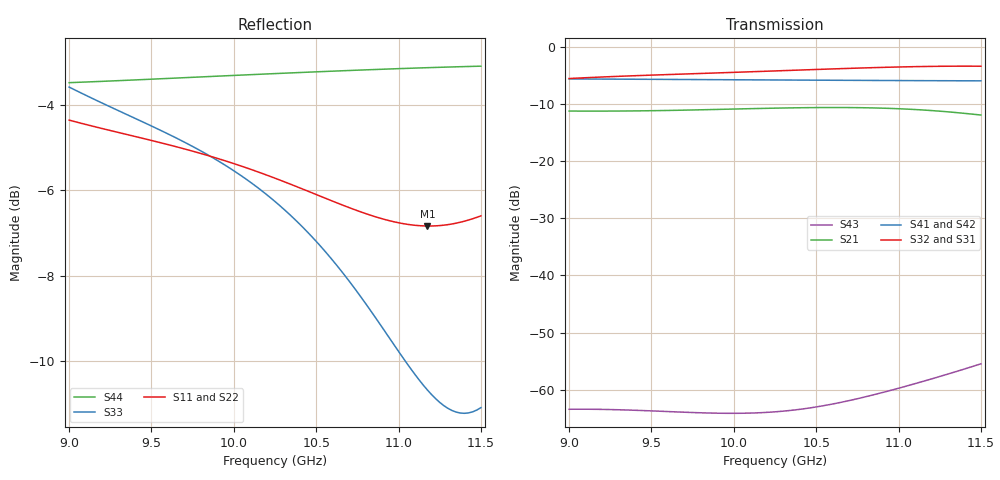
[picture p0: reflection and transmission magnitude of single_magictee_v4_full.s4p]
! Generated from PyAEDT SolutionData; AEDT ExportNetworkData workaround
# GHz S MA R 50
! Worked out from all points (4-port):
!   101 points, 9 GHz to 11.5 GHz, reference 50 ohm
!   strongest paths, dB at 9 GHz, 9.625 GHz, 10.25 GHz, 10.88 GHz, 11.5 GHz:
!     S32: -5.5, -4.8, -4.2, -3.6, -3.4
!     S31: -5.5, -4.8, -4.2, -3.6, -3.4
!     S41: -5.6, -5.7, -5.8, -5.8, -5.9
!     S42: -5.6, -5.7, -5.8, -5.9, -6.0
!     S21: -11.2, -11.1, -10.7, -10.7, -11.9
!     S43: -63.4, -63.9, -63.9, -60.7, -55.5
!   lowest |S11| = -6.8 dB at 11.18 GHz (marker M1), VSWR 2.67, Z = 19.9 + j11.3 ohm
!   |S11| at or under -10 dB: nowhere
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9  0.6053 25.1  0.2753 -65.8  0.5303 -2.5  0.5259 38.7
   0.2753 -65.8  0.6066 25.1  0.5301 -2.6  0.5246 -141.3
   0.5303 -2.5  0.5301 -2.6  0.6616 174.4  0.0006743 2.8
   0.5259 38.7  0.5246 -141.3  0.0006743 2.8  0.6695 -152.0
9.4  0.5792 -23.0  0.2761 -120.6  0.5613 -73.3  0.5227 -4.8
     0.2761 -120.6  0.5803 -23.0  0.5613 -73.4  0.5215 175.3
     0.5613 -73.3  0.5613 -73.4  0.6082 83.0  0.0006607 -77.4
     0.5227 -4.8  0.5215 175.3  0.0006607 -77.4  0.6744 169.5
9.725  0.5584 -60.8  0.2808 -163.6  0.5824 -128.8  0.5198 -39.0
       0.2808 -163.6  0.5594 -60.7  0.5825 -128.8  0.5186 141.1
       0.5824 -128.8  0.5825 -128.8  0.5671 12.1  0.0006334 -137.3
       0.5198 -39.0  0.5186 141.1  0.0006334 -137.3  0.6789 139.0
10.05  0.5344 -97.3  0.2877 154.1  0.6037 177.1  0.5168 -72.4
       0.2877 154.1  0.5352 -97.3  0.604 177.1  0.5157 107.6
       0.6037 177.1  0.604 177.1  0.5203 -56.9  0.0006223 167.9
       0.5168 -72.4  0.5157 107.6  0.0006223 167.9  0.6833 109.0
10.625  0.4845 -158.0  0.2956 79.2  0.6449 82.3  0.5119 -130.1
        0.2956 79.2  0.4852 -158.1  0.6454 82.3  0.5106 49.9
        0.6449 82.3  0.6454 82.3  0.4094 -179.9  0.0007621 76.3
        0.5119 -130.1  0.5106 49.9  0.0007621 76.3  0.6908 56.8
11.175  0.4551 150.2  0.2796 8.4  0.6758 -9.9  0.5079 176.0
        0.2796 8.4  0.4561 150.1  0.6765 -10.0  0.5061 -4.1
        0.6758 -9.9  0.6765 -10.0  0.2927 46.2  0.001213 -22.6
        0.5079 176.0  0.5061 -4.1  0.001213 -22.6  0.697 7.4
11.5  0.4677 120.0  0.2541 -29.9  0.6786 -66.7  0.5062 144.4
      0.2541 -29.9  0.4689 120.1  0.6795 -66.7  0.5039 -35.7
      0.6786 -66.7  0.6795 -66.7  0.2791 -46.3  0.001686 -88.4
      0.5062 144.4  0.5039 -35.7  0.001686 -88.4  0.6999 -21.8
